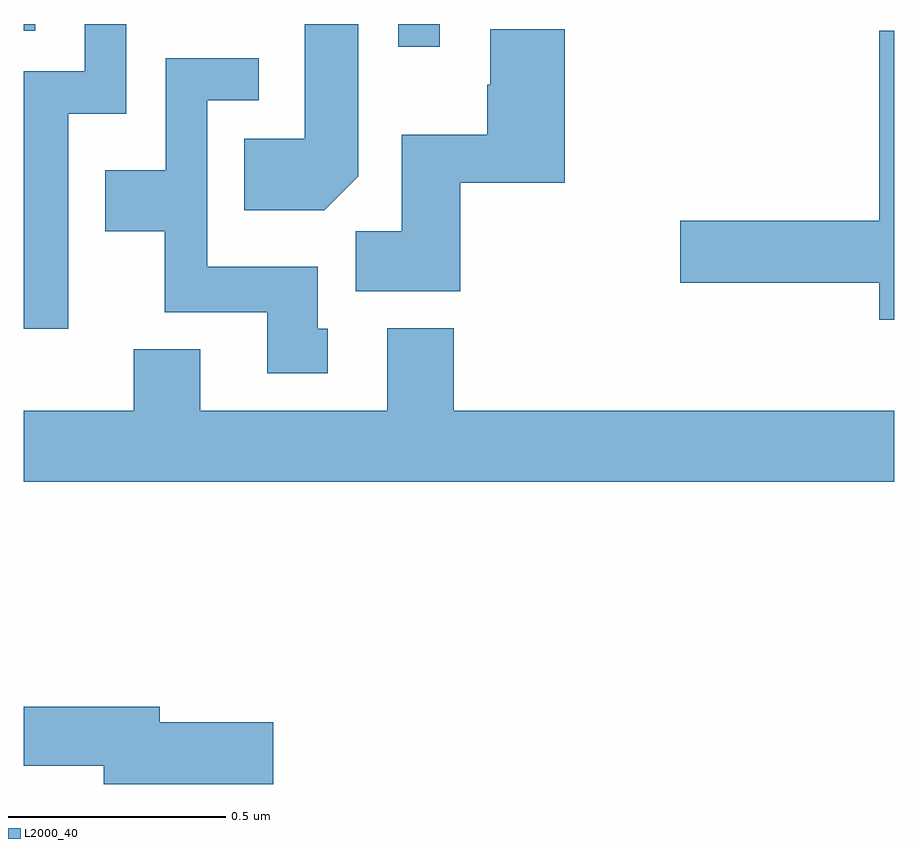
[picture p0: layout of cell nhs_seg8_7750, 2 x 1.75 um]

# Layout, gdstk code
import gdstk
lib = gdstk.Library(unit=1e-6, precision=1e-09)
def R(c, l, rs):  # rectangles x0, y0, x1, y1
    for r in rs: c.add(gdstk.rectangle(r[:2], r[2:], *l))
def P(c, l, *ps):  # polygons
    for p in ps: c.add(gdstk.Polygon(p, *l))
L2000_40 = (2000, 40)

nhs_seg8_7750 = lib.new_cell('nhs_seg8_7750')
R(nhs_seg8_7750, L2000_40, [(214.86,1102.848,214.956,1102.9), (214,1102.884,214.027,1102.9)])
P(nhs_seg8_7750, L2000_40, [(214.102,1102.694),(214.236,1102.694),(214.236,1102.9),(214.14,1102.9),(214.14,1102.791),(214,1102.791),(214,1102.2),(214.102,1102.2)],
  [(214.768,1102.55),(214.768,1102.9),(214.646,1102.9),(214.646,1102.636),(214.507,1102.636),(214.507,1102.472),(214.69,1102.472)],
  [(215.003,1102.535),(215.243,1102.535),(215.243,1102.888),(215.072,1102.888),(215.072,1102.76),(215.065,1102.76),(215.065,1102.645),(214.868,1102.645),(214.868,1102.424),(214.763,1102.424),(214.763,1102.286),(215.003,1102.286)],
  [(216,1102.884),(215.966,1102.884),(215.966,1102.448),(215.508,1102.448),(215.508,1102.306),(215.966,1102.306),(215.966,1102.22),(216,1102.22)],
  [(214.699,1102.2),(214.675,1102.2),(214.675,1102.342),(214.422,1102.342),(214.422,1102.725),(214.54,1102.725),(214.54,1102.821),(214.326,1102.821),(214.326,1102.564),(214.187,1102.564),(214.187,1102.424),(214.324,1102.424),(214.324,1102.238),(214.559,1102.238),(214.559,1102.098),(214.699,1102.098)],
  [(216,1102.012),(214.988,1102.012),(214.988,1102.201),(214.835,1102.201),(214.835,1102.012),(214.405,1102.012),(214.405,1102.153),(214.253,1102.153),(214.253,1102.012),(214,1102.012),(214,1101.848),(216,1101.848)],
  [(214.573,1101.296),(214.312,1101.296),(214.312,1101.332),(214,1101.332),(214,1101.196),(214.184,1101.196),(214.184,1101.154),(214.573,1101.154)])

lib.write_gds('nhs_seg8_7750.gds')
